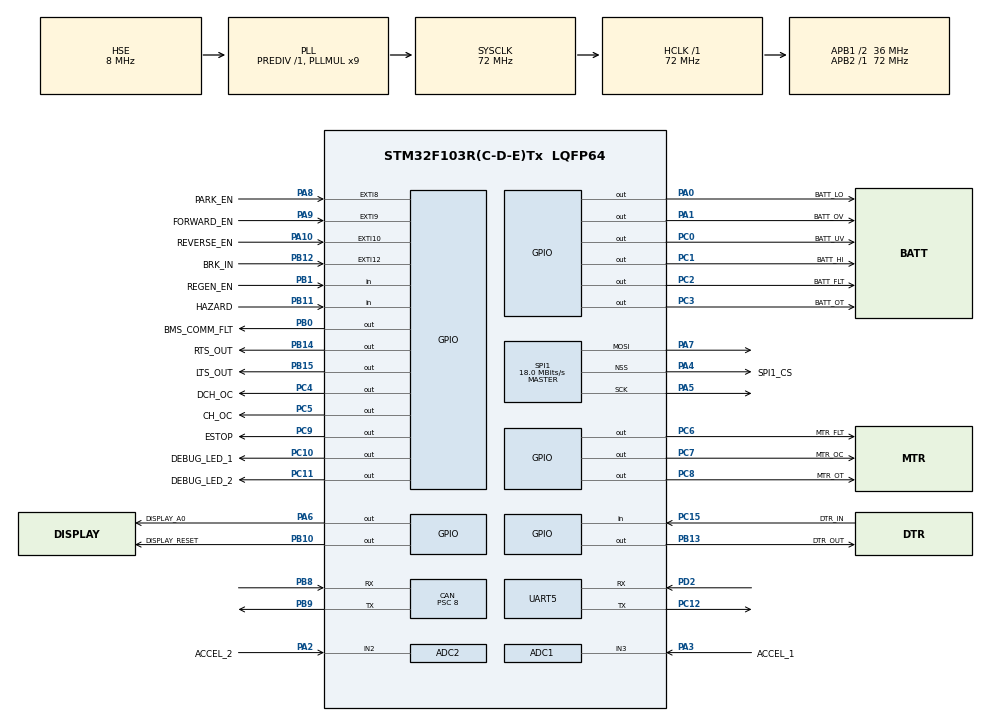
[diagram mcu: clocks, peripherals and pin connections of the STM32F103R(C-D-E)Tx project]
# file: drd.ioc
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ADC1.Channel-0\#ChannelRegularConversion=ADC_CHANNEL_3
ADC1.NbrOfConversionFlag=1
ADC1.Rank-0\#ChannelRegularConversion=1
ADC1.SamplingTime-0\#ChannelRegularConversion=ADC_SAMPLETIME_1CYCLE_5
ADC1.master=1
ADC2.Channel-0\#ChannelRegularConversion=ADC_CHANNEL_2
ADC2.NbrOfConversionFlag=1
ADC2.Rank-0\#ChannelRegularConversion=1
ADC2.SamplingTime-0\#ChannelRegularConversion=ADC_SAMPLETIME_1CYCLE_5
CAN.ABOM=ENABLE
CAN.BS1=CAN_BS1_4TQ
CAN.BS2=CAN_BS2_4TQ
CAN.CalculateBaudRate=500000
CAN.CalculateTimeBit=2000
CAN.CalculateTimeQuantum=222.22222222222223
CAN.NART=ENABLE
CAN.Prescaler=8
FREERTOS.Events01=calculate_soc_flag,Static,calculate_soc_flagControlBlock
FREERTOS.Tasks01=defaultTask,24,128,StartDefaultTask,Default,NULL,Static,defaultTaskBuffer,defaultTaskControlBlock;ExtLightsTask,8,256,ExternalLights_task,Default,NULL,Static,ExternalLights_Buffer,ExternalLights_ControlBlock;LCDUpdateTask,24,256,LCDUpdatetask,Default,NULL,Static,LCDUpdateTaskBuffer,LCDUpdateTaskControlBlock;DriveStateTask,8,256,DriveState_task,Default,NULL,Static,DriveStateTaskBuffer,DriveStateTaskControlBlock;TimeSinceStartu,8,128,TimeSinceStartup_task,Default,NULL,Static,TimeSinceStartuBuffer,TimeSinceStartuControlBlock;CalculateSoCTas,8,512,CalculateSoCtask,Default,NULL,Static,CalculateSoCtaskBuffer,CalculateSoCtaskControlBlock
FREERTOS.configUSE_NEWLIB_REENTRANT=1
IWDG.Reload=4095
Mcu.Family=STM32F1
Mcu.Name=STM32F103R(C-D-E)Tx
Mcu.Package=LQFP64
NVIC.EXTI15_10_IRQn=true\:5\:0\:false\:false\:true\:true\:true\:true\:true
NVIC.EXTI9_5_IRQn=true\:5\:0\:false\:false\:true\:true\:true\:true\:true
NVIC.PriorityGroup=NVIC_PRIORITYGROUP_4
NVIC.USB_HP_CAN1_TX_IRQn=true\:5\:0\:false\:false\:true\:true\:true\:true\:true
NVIC.USB_LP_CAN1_RX0_IRQn=true\:5\:0\:false\:false\:true\:true\:true\:true\:true
PA0-WKUP.GPIO_Label=BATT_LO
PA0-WKUP.Signal=GPIO_Output
PA1.GPIO_Label=BATT_OV
PA1.GPIO_PuPd=GPIO_PULLDOWN
PA1.Signal=GPIO_Output
PA10.GPIO_Label=REVERSE_EN
PA10.GPIO_ModeDefaultEXTI=GPIO_MODE_IT_FALLING
PA10.GPIO_PuPd=GPIO_PULLUP
PA10.Signal=GPXTI10
PA13.Mode=Serial_Wire
PA13.Signal=SYS_JTMS-SWDIO
PA14.Mode=Serial_Wire
PA14.Signal=SYS_JTCK-SWCLK
PA2.GPIO_Label=ACCEL_2
PA2.Signal=ADCx_IN2
PA3.GPIO_Label=ACCEL_1
PA3.Signal=ADCx_IN3
PA4.GPIO_Label=SPI1_CS
PA4.Mode=NSS_Signal_Hard_Output
PA4.Signal=SPI1_NSS
PA5.Mode=TX_Only_Simplex_Unidirect_Master
PA5.Signal=SPI1_SCK
PA6.GPIO_Label=DISPLAY_A0
PA6.Signal=GPIO_Output
PA7.Mode=TX_Only_Simplex_Unidirect_Master
PA7.Signal=SPI1_MOSI
PA8.GPIO_Label=PARK_EN
PA8.GPIO_ModeDefaultEXTI=GPIO_MODE_IT_FALLING
PA8.GPIO_PuPd=GPIO_PULLUP
PA8.Signal=GPXTI8
PA9.GPIO_Label=FORWARD_EN
PA9.GPIO_ModeDefaultEXTI=GPIO_MODE_IT_FALLING
PA9.GPIO_PuPd=GPIO_PULLUP
PA9.Signal=GPXTI9
PB0.GPIO_Label=BMS_COMM_FLT
PB0.GPIO_PuPd=GPIO_PULLDOWN
PB0.Signal=GPIO_Output
PB1.GPIO_Label=REGEN_EN
PB1.Signal=GPIO_Input
PB10.GPIO_Label=DISPLAY_RESET
PB10.Signal=GPIO_Output
PB11.GPIO_Label=HAZARD
PB11.Signal=GPIO_Input
PB12.GPIO_Label=BRK_IN
PB12.GPIO_PuPd=GPIO_PULLUP
PB12.Signal=GPXTI12
PB13.GPIO_Label=DTR_OUT
PB13.GPIO_PuPd=GPIO_PULLDOWN
PB13.Signal=GPIO_Output
PB14.GPIO_Label=RTS_OUT
PB14.GPIO_PuPd=GPIO_PULLDOWN
PB14.Signal=GPIO_Output
PB15.GPIO_Label=LTS_OUT
PB15.GPIO_PuPd=GPIO_PULLDOWN
PB15.Signal=GPIO_Output
PB8.Mode=CAN_Activate
PB8.Signal=CAN_RX
PB9.Mode=CAN_Activate
PB9.Signal=CAN_TX
PC0.GPIO_Label=BATT_UV
PC0.GPIO_PuPd=GPIO_PULLDOWN
PC0.Signal=GPIO_Output
PC1.GPIO_Label=BATT_HI
PC1.GPIO_PuPd=GPIO_PULLDOWN
PC1.Signal=GPIO_Output
PC10.GPIO_Label=DEBUG_LED_1
PC10.GPIO_PuPd=GPIO_PULLDOWN
PC10.Signal=GPIO_Output
PC11.GPIO_Label=DEBUG_LED_2
PC11.GPIO_PuPd=GPIO_PULLDOWN
PC11.Signal=GPIO_Output
PC12.Mode=Asynchronous
PC12.Signal=UART5_TX
PC15-OSC32_OUT.GPIO_Label=DTR_IN
PC15-OSC32_OUT.GPIO_PuPd=GPIO_PULLDOWN
PC15-OSC32_OUT.Signal=GPIO_Input
PC2.GPIO_Label=BATT_FLT
PC2.GPIO_PuPd=GPIO_PULLDOWN
PC2.Signal=GPIO_Output
PC3.GPIO_Label=BATT_OT
PC3.GPIO_PuPd=GPIO_PULLDOWN
PC3.Signal=GPIO_Output
PC4.GPIO_Label=DCH_OC
PC4.GPIO_PuPd=GPIO_PULLDOWN
PC4.Signal=GPIO_Output
PC5.GPIO_Label=CH_OC
PC5.GPIO_PuPd=GPIO_PULLDOWN
PC5.Signal=GPIO_Output
PC6.GPIO_Label=MTR_FLT
PC6.GPIO_PuPd=GPIO_PULLDOWN
PC6.Signal=GPIO_Output
PC7.GPIO_Label=MTR_OC
PC7.GPIO_PuPd=GPIO_PULLDOWN
PC7.Signal=GPIO_Output
PC8.GPIO_Label=MTR_OT
PC8.GPIO_PuPd=GPIO_PULLDOWN
PC8.Signal=GPIO_Output
PC9.GPIO_Label=ESTOP
PC9.GPIO_PuPd=GPIO_PULLDOWN
PC9.Signal=GPIO_Output
PD0-OSC_IN.Mode=HSE-External-Oscillator
PD0-OSC_IN.Signal=RCC_OSC_IN
PD1-OSC_OUT.Mode=HSE-External-Oscillator
PD1-OSC_OUT.Signal=RCC_OSC_OUT
PD2.Mode=Asynchronous
PD2.Signal=UART5_RX
ProjectManager.HeapSize=0x200
ProjectManager.StackSize=0x400
ProjectManager.TargetToolchain=STM32CubeIDE
RCC.ADCPresc=RCC_ADCPCLK2_DIV6
RCC.AHBFreq_Value=72000000
RCC.APB1CLKDivider=RCC_HCLK_DIV2
RCC.APB1Freq_Value=36000000
RCC.APB1TimFreq_Value=72000000
RCC.APB2Freq_Value=72000000
RCC.APB2TimFreq_Value=72000000
RCC.HCLKFreq_Value=72000000
RCC.PLLMUL=RCC_PLL_MUL9
RCC.PLLSourceVirtual=RCC_PLLSOURCE_HSE
RCC.SYSCLKFreq_VALUE=72000000
RCC.SYSCLKSource=RCC_SYSCLKSOURCE_PLLCLK
RCC.USBFreq_Value=72000000
SH.ADCx_IN2.0=ADC2_IN2,IN2
SH.ADCx_IN3.0=ADC1_IN3,IN3
SPI1.BaudRatePrescaler=SPI_BAUDRATEPRESCALER_4
SPI1.CalculateBaudRate=18.0 MBits/s
SPI1.Direction=SPI_DIRECTION_2LINES
SPI1.Mode=SPI_MODE_MASTER
SPI1.VirtualNSS=VM_NSSHARD
SPI1.VirtualType=VM_MASTER
UART5.VirtualMode=Asynchronous
VP_FREERTOS_VS_CMSIS_V2.Mode=CMSIS_V2
VP_IWDG_VS_IWDG.Mode=IWDG_Activate
board=custom

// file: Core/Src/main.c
/* USER CODE BEGIN Header */
/**
  ******************************************************************************
  * @file           : main.c
  * @brief          : Main program body
  ******************************************************************************
  * @attention
  *
  * Copyright (c) 2025 STMicroelectronics.
  * All rights reserved.
  *
  * This software is licensed under terms that can be found in the LICENSE file
  * in the root directory of this software component.
  * If no LICENSE file comes with this software, it is provided AS-IS.
  *
  ******************************************************************************
  */
/* USER CODE END Header */
#include "main.h"
#include "cmsis_os.h"
#include "adc.h"
#include "can.h"
#include "iwdg.h"
#include "spi.h"
#include "usart.h"
#include "gpio.h"

void SystemClock_Config(void);
void MX_FREERTOS_Init(void);

int main(void)
{

  /* MCU Configuration--------------------------------------------------------*/

  /* Reset of all peripherals, Initializes the Flash interface and the Systick. */
  HAL_Init();

  /* Configure the system clock */
  SystemClock_Config();

  /* Initialize all configured peripherals */
  MX_GPIO_Init();
  MX_ADC1_Init();
  MX_ADC2_Init();
  MX_CAN_Init();
  MX_SPI1_Init();
  MX_UART5_Init();
  MX_IWDG_Init();
  /* USER CODE BEGIN 2 */
  IWDG_reset_handle();
  /* USER CODE END 2 */

  /* Init scheduler */
  osKernelInitialize();

  /* Call init function for freertos objects (in cmsis_os2.c) */
  MX_FREERTOS_Init();

  /* Start scheduler */
  osKernelStart();

  /* We should never get here as control is now taken by the scheduler */

  /* Infinite loop */
  while (1)
  {

  }
}

void SystemClock_Config(void)
{
  RCC_OscInitTypeDef RCC_OscInitStruct = {0};
  RCC_ClkInitTypeDef RCC_ClkInitStruct = {0};
  RCC_PeriphCLKInitTypeDef PeriphClkInit = {0};

  /** Initializes the RCC Oscillators according to the specified parameters
  * in the RCC_OscInitTypeDef structure.
  */
  RCC_OscInitStruct.OscillatorType = RCC_OSCILLATORTYPE_LSI|RCC_OSCILLATORTYPE_HSE;
  RCC_OscInitStruct.HSEState = RCC_HSE_ON;
  RCC_OscInitStruct.HSEPredivValue = RCC_HSE_PREDIV_DIV1;
  RCC_OscInitStruct.HSIState = RCC_HSI_ON;
  RCC_OscInitStruct.LSIState = RCC_LSI_ON;
  RCC_OscInitStruct.PLL.PLLState = RCC_PLL_ON;
  RCC_OscInitStruct.PLL.PLLSource = RCC_PLLSOURCE_HSE;
  RCC_OscInitStruct.PLL.PLLMUL = RCC_PLL_MUL9;
  if (HAL_RCC_OscConfig(&RCC_OscInitStruct) != HAL_OK)
  {
    Error_Handler();
  }

  /** Initializes the CPU, AHB and APB buses clocks
  */
  RCC_ClkInitStruct.ClockType = RCC_CLOCKTYPE_HCLK|RCC_CLOCKTYPE_SYSCLK
                              |RCC_CLOCKTYPE_PCLK1|RCC_CLOCKTYPE_PCLK2;
  RCC_ClkInitStruct.SYSCLKSource = RCC_SYSCLKSOURCE_PLLCLK;
  RCC_ClkInitStruct.AHBCLKDivider = RCC_SYSCLK_DIV1;
  RCC_ClkInitStruct.APB1CLKDivider = RCC_HCLK_DIV2;
  RCC_ClkInitStruct.APB2CLKDivider = RCC_HCLK_DIV1;

  if (HAL_RCC_ClockConfig(&RCC_ClkInitStruct, FLASH_LATENCY_2) != HAL_OK)
  {
    Error_Handler();
  }
  PeriphClkInit.PeriphClockSelection = RCC_PERIPHCLK_ADC;
  PeriphClkInit.AdcClockSelection = RCC_ADCPCLK2_DIV6;
  if (HAL_RCCEx_PeriphCLKConfig(&PeriphClkInit) != HAL_OK)
  {
    Error_Handler();
  }
}

void Error_Handler(void)
{
  __disable_irq();
  while (1)
  {
  }
}

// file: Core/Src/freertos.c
/* USER CODE BEGIN Header */
/**
  ******************************************************************************
  * File Name          : freertos.c
  * Description        : Code for freertos applications
  ******************************************************************************
  * @attention
  *
  * Copyright (c) 2025 STMicroelectronics.
  * All rights reserved.
  *
  * This software is licensed under terms that can be found in the LICENSE file
  * in the root directory of this software component.
  * If no LICENSE file comes with this software, it is provided AS-IS.
  *
  ******************************************************************************
  */
/* USER CODE END Header */

#include "FreeRTOS.h"
#include "task.h"
#include "main.h"
#include "cmsis_os.h"

/* USER CODE BEGIN Includes */
#include "can.h"
#include "external_lights.h"
#include "lcd.h"
#include "spi.h"
#include "drive_state.h"
#include "iwdg.h"
#include "diagnostic.h"
#include "cyclic_data_handler.h"
#include "soc.h"
#include "drd_freertos.h"
/* USER CODE END Includes */

typedef StaticTask_t osStaticThreadDef_t;
typedef StaticEventGroup_t osStaticEventGroupDef_t;

/* USER CODE BEGIN PD */
#define DEFAULT_TASK_DELAY 			  100
#define TIME_SINCE_STARTUP_TASK_DELAY 1000
/* USER CODE END PD */

/* Definitions for defaultTask */
osThreadId_t defaultTaskHandle;
uint32_t defaultTaskBuffer[ 128 ];
osStaticThreadDef_t defaultTaskControlBlock;
const osThreadAttr_t defaultTask_attributes = {
  .name = "defaultTask",
  .cb_mem = &defaultTaskControlBlock,
  .cb_size = sizeof(defaultTaskControlBlock),
  .stack_mem = &defaultTaskBuffer[0],
  .stack_size = sizeof(defaultTaskBuffer),
  .priority = (osPriority_t) osPriorityNormal,
};
/* Definitions for ExtLightsTask */
osThreadId_t ExtLightsTaskHandle;
uint32_t ExternalLights_Buffer[ 256 ];
osStaticThreadDef_t ExternalLights_ControlBlock;
const osThreadAttr_t ExtLightsTask_attributes = {
  .name = "ExtLightsTask",
  .cb_mem = &ExternalLights_ControlBlock,
  .cb_size = sizeof(ExternalLights_ControlBlock),
  .stack_mem = &ExternalLights_Buffer[0],
  .stack_size = sizeof(ExternalLights_Buffer),
  .priority = (osPriority_t) osPriorityLow,
};
/* Definitions for LCDUpdateTask */
osThreadId_t LCDUpdateTaskHandle;
uint32_t LCDUpdateTaskBuffer[ 256 ];
osStaticThreadDef_t LCDUpdateTaskControlBlock;
const osThreadAttr_t LCDUpdateTask_attributes = {
  .name = "LCDUpdateTask",
  .cb_mem = &LCDUpdateTaskControlBlock,
  .cb_size = sizeof(LCDUpdateTaskControlBlock),
  .stack_mem = &LCDUpdateTaskBuffer[0],
  .stack_size = sizeof(LCDUpdateTaskBuffer),
  .priority = (osPriority_t) osPriorityNormal,
};
/* Definitions for DriveStateTask */
osThreadId_t DriveStateTaskHandle;
uint32_t DriveStateTaskBuffer[ 256 ];
osStaticThreadDef_t DriveStateTaskControlBlock;
const osThreadAttr_t DriveStateTask_attributes = {
  .name = "DriveStateTask",
  .cb_mem = &DriveStateTaskControlBlock,
  .cb_size = sizeof(DriveStateTaskControlBlock),
  .stack_mem = &DriveStateTaskBuffer[0],
  .stack_size = sizeof(DriveStateTaskBuffer),
  .priority = (osPriority_t) osPriorityLow,
};
/* Definitions for TimeSinceStartu */
osThreadId_t TimeSinceStartuHandle;
uint32_t TimeSinceStartuBuffer[ 128 ];
osStaticThreadDef_t TimeSinceStartuControlBlock;
const osThreadAttr_t TimeSinceStartu_attributes = {
  .name = "TimeSinceStartu",
  .cb_mem = &TimeSinceStartuControlBlock,
  .cb_size = sizeof(TimeSinceStartuControlBlock),
  .stack_mem = &TimeSinceStartuBuffer[0],
  .stack_size = sizeof(TimeSinceStartuBuffer),
  .priority = (osPriority_t) osPriorityLow,
};
/* Definitions for CalculateSoCTas */
osThreadId_t CalculateSoCTasHandle;
uint32_t CalculateSoCtaskBuffer[ 512 ];
osStaticThreadDef_t CalculateSoCtaskControlBlock;
const osThreadAttr_t CalculateSoCTas_attributes = {
  .name = "CalculateSoCTas",
  .cb_mem = &CalculateSoCtaskControlBlock,
  .cb_size = sizeof(CalculateSoCtaskControlBlock),
  .stack_mem = &CalculateSoCtaskBuffer[0],
  .stack_size = sizeof(CalculateSoCtaskBuffer),
  .priority = (osPriority_t) osPriorityLow,
};
/* Definitions for calculate_soc_flag */
osEventFlagsId_t calculate_soc_flagHandle;
osStaticEventGroupDef_t calculate_soc_flagControlBlock;
const osEventFlagsAttr_t calculate_soc_flag_attributes = {
  .name = "calculate_soc_flag",
  .cb_mem = &calculate_soc_flagControlBlock,
  .cb_size = sizeof(calculate_soc_flagControlBlock),
};

void StartDefaultTask(void *argument);
void ExternalLights_task(void *argument);
void LCDUpdatetask(void *argument);
void DriveState_task(void *argument);
void TimeSinceStartup_task(void *argument);
void CalculateSoCtask(void *argument);

void MX_FREERTOS_Init(void); /* (MISRA C 2004 rule 8.1) */

void MX_FREERTOS_Init(void) {
  /* USER CODE BEGIN Init */
	CAN_tasks_init();
  /* USER CODE END Init */

  /* Create the thread(s) */
  /* creation of defaultTask */
  defaultTaskHandle = osThreadNew(StartDefaultTask, NULL, &defaultTask_attributes);

  /* creation of ExtLightsTask */
  ExtLightsTaskHandle = osThreadNew(ExternalLights_task, NULL, &ExtLightsTask_attributes);

  /* creation of LCDUpdateTask */
  LCDUpdateTaskHandle = osThreadNew(LCDUpdatetask, NULL, &LCDUpdateTask_attributes);

  /* creation of DriveStateTask */
  DriveStateTaskHandle = osThreadNew(DriveState_task, NULL, &DriveStateTask_attributes);

  /* creation of TimeSinceStartu */
  TimeSinceStartuHandle = osThreadNew(TimeSinceStartup_task, NULL, &TimeSinceStartu_attributes);

  /* creation of CalculateSoCTas */
  CalculateSoCTasHandle = osThreadNew(CalculateSoCtask, NULL, &CalculateSoCTas_attributes);

  /* Create the event(s) */
  /* creation of calculate_soc_flag */
  calculate_soc_flagHandle = osEventFlagsNew(&calculate_soc_flag_attributes);

}

void StartDefaultTask(void *argument)
{
  /* USER CODE BEGIN StartDefaultTask */
  DRD_diagnostics_transmit(&g_diagnostics, false);
  /* Infinite loop */
  for(;;)
  {
	  Motor_Controller_query_data();
	  IWDG_Refresh(&hiwdg);
    osDelay(DEFAULT_TASK_DELAY);
    DRD_diagnostics_transmit(&g_diagnostics, false); //transmit diagnostics every 100ms
  }
  /* USER CODE END StartDefaultTask */
}

void ExternalLights_task(void *argument)
{
  /* USER CODE BEGIN ExternalLights_task */
  /* Infinite loop */
  for(;;)
  {
	  ExternalLights_state_machine();
	  osDelay(LIGHTS_STATE_MACHINE_DELAY);

  }
  /* USER CODE END ExternalLights_task */
}

/* USER CODE BEGIN Header_LCDUpdatetask */
/**
* @brief Function implementing the LCDUpdateTask thread.
* @param argument: Not used
* @retval None
*/

// When debugging we can check the duration of this function to measure performance.
#ifdef DEBUG
    static uint32_t lcd_time_start;
    static uint32_t lcd_time_diff;
#endif // DEBUG

/* USER CODE END Header_LCDUpdatetask */
void LCDUpdatetask(void *argument)
{
  /* USER CODE BEGIN LCDUpdatetask */
  /* Infinite loop */

  LCD_init(&hspi1);

  g_lcd_data.speed_units = KPH;

  // VARIABLE FOR TEST!!!
  uint8_t lcd_temp = 50;

  for(;;)
  {
    // When debugging we can check the duration of this function to measure performance.
    #ifdef DEBUG
        lcd_time_start = HAL_GetTick();
    #endif // DEBUG

//    g_lcd_data.speed            = get_cyclic_speed();
//    g_lcd_data.drive_state      = get_cyclic_drive_state();
//    g_lcd_data.drive_mode       = (volatile uint8_t) g_input_flags.eco_mode_on;
//    g_lcd_data.pack_current     = get_cyclic_pack_current();
//    g_lcd_data.pack_voltage     = get_cyclic_pack_voltage();
//    g_lcd_data.soc              = get_cyclic_soc();
//
//    LCD_display_power_bar(g_lcd_data.pack_current, g_lcd_data.pack_voltage);
//    LCD_display_speed(g_lcd_data.speed, g_lcd_data.speed_units);
//    LCD_display_drive_state(g_lcd_data.drive_state);
//    LCD_display_SOC((volatile uint32_t*) g_lcd_data.soc);
//    LCD_display_drive_mode(g_lcd_data.drive_mode);

//     Greg's Test code
//    for(lcd_temp = 0; lcd_temp<200; lcd_temp+=10){
//    	LCD_display_temperature(&lcd_temp);
//    	HAL_Delay(1000);
//    }

      LCD_clear_screen();
      LCD_display_temperature(&lcd_temp);

    #ifdef DEBUG
        lcd_time_diff = HAL_GetTick() - lcd_time_start;
    #endif // DEBUG

    osDelay(LCD_UPDATE_DELAY);
}
  /* USER CODE END LCDUpdatetask */
}

void DriveState_task(void *argument)
{
  /* USER CODE BEGIN DriveState_task */
	g_input_flags.velocity_under_threshold = true;
	g_input_flags.eco_mode_on = true;

  /* Infinite loop */
  for(;;)
  {
    osDelay(DRIVE_STATE_MACHINE_DELAY);
    Drive_State_Machine_handler();
  }
  /* USER CODE END DriveState_task */
}

void TimeSinceStartup_task(void *argument)
{
  /* USER CODE BEGIN TimeSinceStartup_task */
  /* Infinite loop */
  for(;;)
  {
    g_time_since_bootup++;
    osDelay(TIME_SINCE_STARTUP_TASK_DELAY);
    DRD_time_since_bootup();
  }
  /* USER CODE END TimeSinceStartup_task */
}

void CalculateSoCtask(void *argument)
{
  /* USER CODE BEGIN CalculateSoCtask */

    // Wait for first pack voltage message to init SoC
    osEventFlagsWait(
        calculate_soc_flagHandle,
        SOC_CALCULATE_ON,
        osFlagsWaitAny | osFlagsNoClear,
        osWaitForever
    );

    // voltage is rounded to nearest integer. Done by adding 0.5
    SOC_init_soc(g_total_pack_voltage_soc + 0.5f);     // TODO: Might be unsafe if load instruction was not done before calling this function

    // Clear flag for next wait
    osEventFlagsClear(calculate_soc_flagHandle, SOC_CALCULATE_ON);

  /* Infinite loop */
  for(;;)
  {
    /* SHOULD EXECUTE WHENVER PACK CURRENT IS RECEIVED */

    // Wait until calculate SOC flag is set
    osEventFlagsWait(
        calculate_soc_flagHandle,
        SOC_CALCULATE_ON,
        osFlagsWaitAny | osFlagsNoClear,
        osWaitForever
    );

    SOC_predict_then_update(g_total_pack_voltage_soc, g_pack_current_soc, SOC_TIME_STEP);
    uint8_t soc = (uint8_t)(SOC_get_soc() * 100);
    set_cyclic_soc(soc);

    osEventFlagsClear(calculate_soc_flagHandle, SOC_CALCULATE_ON);

    osDelay(CALCULATE_SOC_DELAY);
  }
  /* USER CODE END CalculateSoCtask */
}
